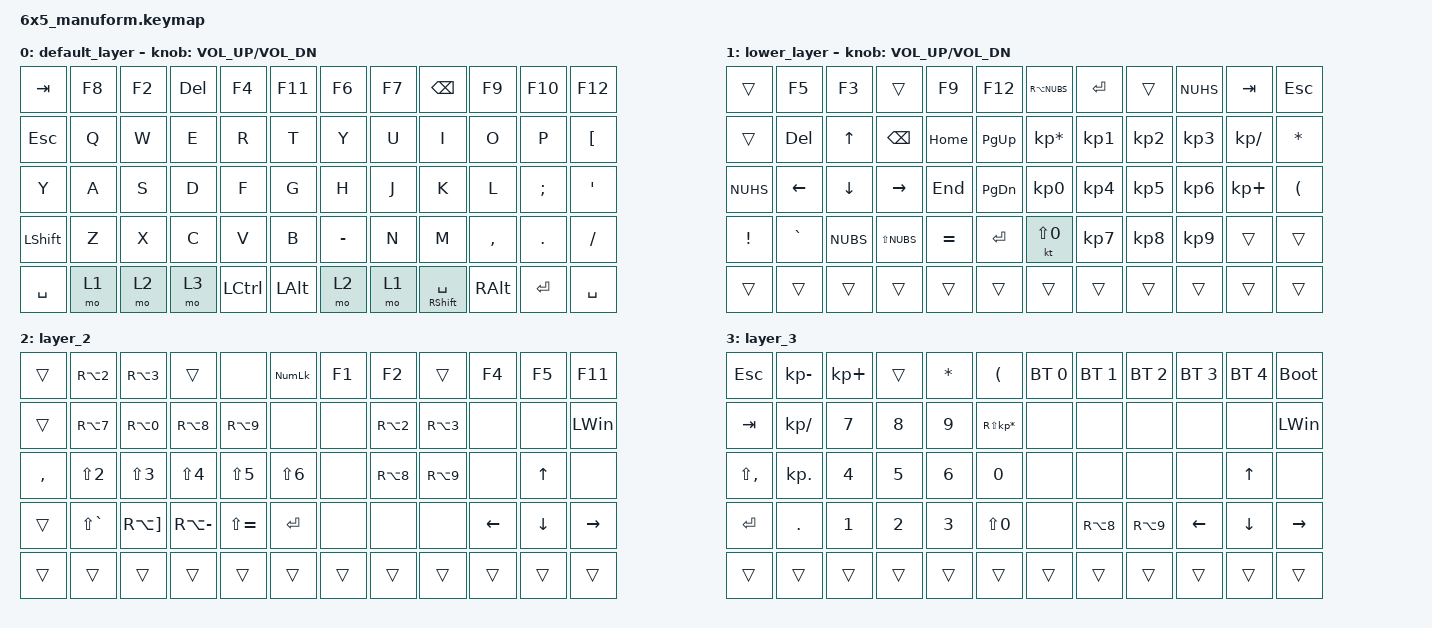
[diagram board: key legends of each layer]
/*
 * Copyright (c) 2020 The ZMK Contributors
 *
 * SPDX-License-Identifier: MIT
 */

#include <behaviors.dtsi>
#include <dt-bindings/zmk/bt.h>
#include <dt-bindings/zmk/keys.h>
#include <dt-bindings/zmk/keys.h>

/ {
    keymap {
        compatible = "zmk,keymap";

        default_layer {
            // ------------------------------------------------------------------------------------------------------------
            // |  ESC   |  1  |  2  |  3   |  4   |  5   |                    |  6   |  7    |  8    |  9   |   0   |   `   |
            // |  TAB   |  Q  |  W  |  E   |  R   |  T   |                    |  Y   |  U    |  I    |  O   |   P   |   -   |
            // |  CTRL  |  A  |  S  |  D   |  F   |  G   |                    |  H   |  J    |  K    |  L   |   ;   |   '   |
            // | SHIFT  |  Z  |  X  |  C   |  V   |  B   |                    |  N   |  M    |  ,    |  .   |   /   | SHIFT |
            // |    2   |  2  | f   | 6    | 4    | 1    |                    | 2    | 1     | w     | s    | n     |  a    |

            bindings = <
   &kp TAB  &kp F8  &kp F2  &kp DEL            &kp F4   &kp F11     &kp F6  &kp F7    &kp BACKSPACE         &kp F9     &kp F10           &kp F12
&kp ESCAPE   &kp Q   &kp W    &kp E             &kp R     &kp T      &kp Y   &kp U            &kp I          &kp O       &kp P  &kp LEFT_BRACKET
     &kp Y   &kp A   &kp S    &kp D             &kp F     &kp G      &kp H   &kp J            &kp K          &kp L    &kp SEMI           &kp SQT
 &kp LSHFT   &kp Z   &kp X    &kp C             &kp V     &kp B  &kp MINUS   &kp N            &kp M      &kp COMMA  &kp PERIOD         &kp SLASH
 &kp SPACE   &mo 1   &mo 2    &mo 3  &kp LEFT_CONTROL  &kp LALT      &mo 2   &mo 1  &mt RSHFT SPACE  &kp RIGHT_ALT   &kp ENTER         &kp SPACE
            >;

            sensor-bindings = <&inc_dec_kp C_VOL_UP C_VOL_DN>;
        };

        lower_layer {
            // ------------------------------------------------------------------------------------------------------------
            // | BTCLR | BT1 | BT2 |  BT3 |  BT4 |  BT5 |                   |      |       |       |      |       |       |
            // |  F1   |  F2 |  F3 |  F4  |  F5  |  F6  |                   |  F7  |  F8   |  F9   |  F10 |  F11  |  F12  |
            // |   `   |  !  |  @  |  #   |  $   |  %   |                   |  ^   |  &    |  *    |  (   |   )   |   ~   |
            // |       |     |     |      |      |      |                   |      |  _    |  +    |  {   |   }   |  "|"  |
            // |       |     |     |      |      |      |                   |      |       |       |      |       |       |

            bindings = <
         &trans     &kp F5    &kp F3        &trans     &kp F9        &kp F12      &kp RA(NUBS)        &kp ENTER           &trans         &kp NUHS        &kp TAB    &kp ESC
         &trans    &kp DEL    &kp UP      &kp BSPC   &kp HOME    &kp PAGE_UP   &kp KP_MULTIPLY  &kp KP_NUMBER_1        &kp KP_N2  &kp KP_NUMBER_3  &kp KP_DIVIDE  &kp ASTRK
       &kp NUHS   &kp LEFT  &kp DOWN     &kp RIGHT    &kp END  &kp PAGE_DOWN   &kp KP_NUMBER_0  &kp KP_NUMBER_4  &kp KP_NUMBER_5  &kp KP_NUMBER_6    &kp KP_PLUS   &kp LPAR
&kp EXCLAMATION  &kp GRAVE  &kp NUBS  &kp LS(NUBS)  &kp EQUAL      &kp ENTER  &kt LS(NUMBER_0)  &kp KP_NUMBER_7  &kp KP_NUMBER_8  &kp KP_NUMBER_9         &trans     &trans
         &trans     &trans    &trans        &trans     &trans         &trans            &trans           &trans           &trans           &trans         &trans     &trans
            >;

            sensor-bindings = <&inc_dec_kp C_VOL_UP C_VOL_DN>;
        };

        layer_2 {
            bindings = <
   &trans  &kp RA(NUMBER_2)    &kp RA(N3)            &trans          &none        &kp KP_NUM  &kp F1            &kp F2            &trans    &kp F4          &kp F5       &kp F11
   &trans        &kp RA(N7)    &kp RA(N0)  &kp RA(NUMBER_8)     &kp RA(N9)             &none   &none  &kp RA(NUMBER_2)  &kp RA(NUMBER_3)     &none           &none  &kp LEFT_WIN
&kp COMMA  &kp LS(NUMBER_2)    &kp LS(N3)        &kp LS(N4)     &kp LS(N5)  &kp LS(NUMBER_6)   &none  &kp RA(NUMBER_8)  &kp RA(NUMBER_9)     &none          &kp UP         &none
   &trans     &kp LS(GRAVE)  &kp RA(RBKT)     &kp RA(MINUS)  &kp LS(EQUAL)         &kp ENTER   &none             &none             &none  &kp LEFT  &kp DOWN_ARROW     &kp RIGHT
   &trans            &trans        &trans            &trans         &trans            &trans  &trans            &trans            &trans    &trans          &trans        &trans
            >;
        };

        layer_3 {
            bindings = <
      &kp ESC  &kp KP_SUBTRACT   &kp KP_PLUS        &trans     &kp ASTRK             &kp LPAR  &bt BT_SEL 0      &bt BT_SEL 1      &bt BT_SEL 2  &bt BT_SEL 3  &bt BT_SEL 4   &bootloader
      &kp TAB    &kp KP_DIVIDE  &kp NUMBER_7  &kp NUMBER_8  &kp NUMBER_9  &kp RS(KP_ASTERISK)         &none             &none             &none         &none         &none  &kp LEFT_WIN
&kp LS(COMMA)       &kp KP_DOT  &kp NUMBER_4  &kp NUMBER_5  &kp NUMBER_6         &kp NUMBER_0         &none             &none             &none         &none        &kp UP         &none
    &kp ENTER          &kp DOT  &kp NUMBER_1  &kp NUMBER_2  &kp NUMBER_3     &kp LS(NUMBER_0)         &none  &kp RA(NUMBER_8)  &kp RA(NUMBER_9)      &kp LEFT      &kp DOWN     &kp RIGHT
       &trans           &trans        &trans        &trans        &trans               &trans        &trans            &trans            &trans        &trans        &trans        &trans
            >;
        };
    };
};
